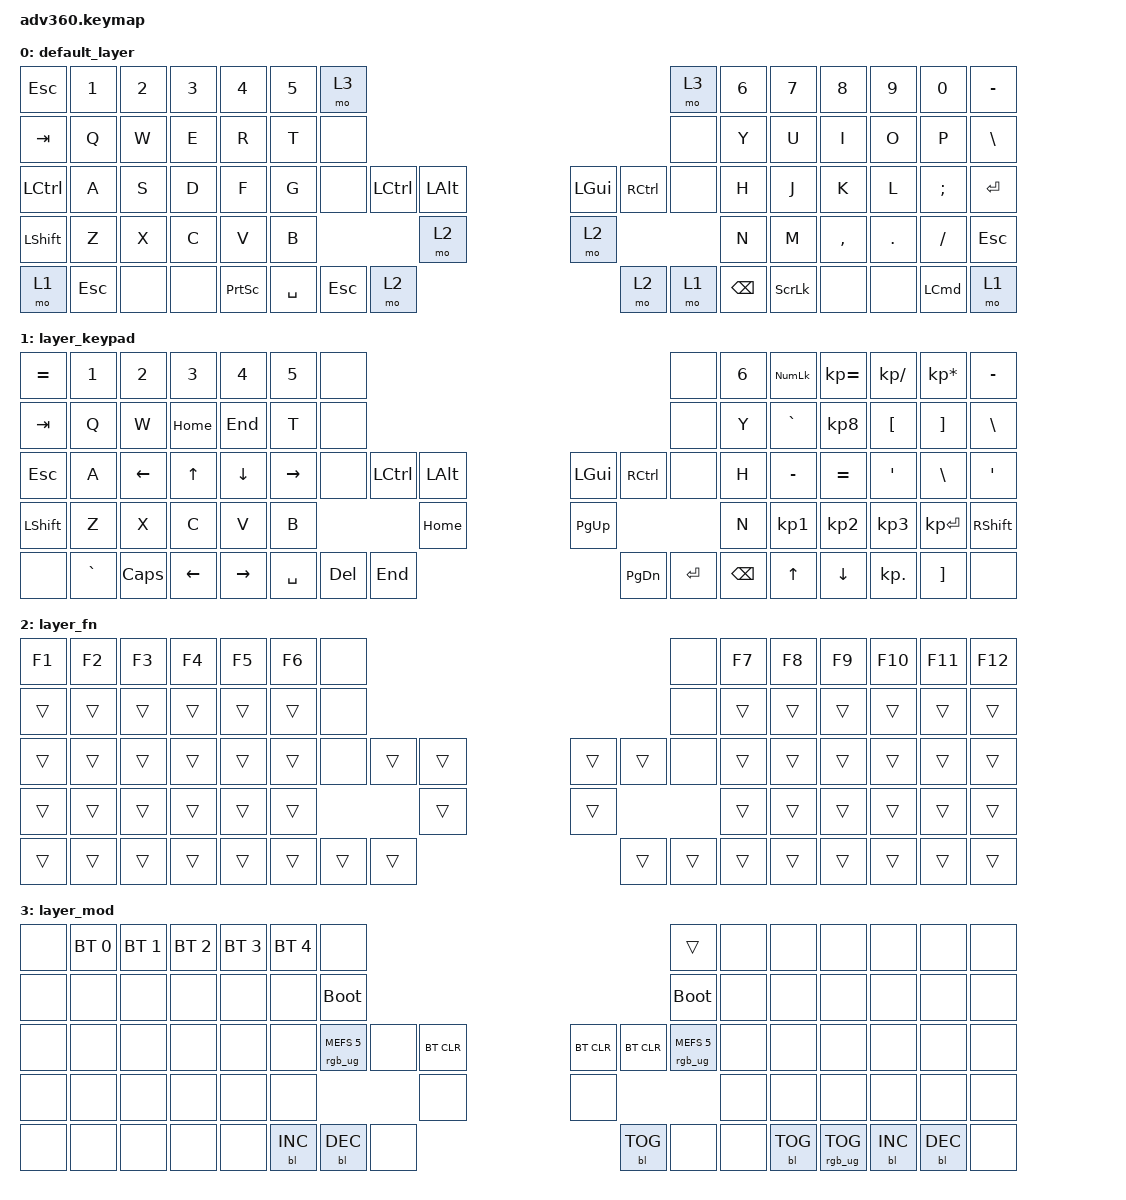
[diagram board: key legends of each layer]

/*
 * Copyright (c) 2020 The ZMK Contributors
 *
 * SPDX-License-Identifier: MIT
 */


/* THIS FILE WAS GENERATED!
 *
 * This file was generated automatically. You may or may not want to
 * edit it directly.
 */

#include <behaviors.dtsi>
#include <dt-bindings/zmk/keys.h>
#include <dt-bindings/zmk/bt.h>
#include <dt-bindings/zmk/rgb.h>
#include <dt-bindings/zmk/backlight.h>

/ {
  behaviors {
    #include "macros.dtsi"

    hm: homerow_mods {
        compatible = "zmk,behavior-hold-tap";
        label = "HOMEROW_MODS";
        #binding-cells = <2>;
        tapping-term-ms = <200>;
        quick_tap_ms = <175>;
        flavor = "tap-preferred";
        bindings = <&kp>, <&kp>;
    };
  };

    keymap {
        compatible = "zmk,keymap";


        default_layer {
            bindings = <
   &kp ESC      &kp N1  &kp N2  &kp N3           &kp N4  &kp N5                &mo 3                                                                    &mo 3  &kp N6          &kp N7     &kp N8   &kp N9            &kp N0  &kp MINUS
   &kp TAB       &kp Q   &kp W   &kp E            &kp R   &kp T                &none                                                                    &none   &kp Y           &kp U      &kp I    &kp O             &kp P   &kp BSLH
 &kp LCTRL       &kp A   &kp S   &kp D            &kp F   &kp G                &none  &kp LCTRL  &kp LALT                  &kp LGUI  &kp RCTRL          &none   &kp H           &kp J      &kp K    &kp L          &kp SEMI  &kp ENTER
 &kp LSHFT       &kp Z   &kp X   &kp C            &kp V   &kp B                                     &mo 2                     &mo 2                             &kp N           &kp M  &kp COMMA  &kp DOT          &kp FSLH    &kp ESC
     &mo 1  &kp ESCAPE   &none   &none  &kp PRINTSCREEN                    &kp SPACE    &kp ESC     &mo 2                     &mo 2      &mo 1  &kp BACKSPACE          &kp SCROLLLOCK      &none    &none  &kp LEFT_COMMAND      &mo 1
            >;
        };

        layer_keypad {
            bindings = <
 &kp EQUAL     &kp N1          &kp N2        &kp N3          &kp N4           &kp N5                &none                                                                     &none  &kp N6  &kp KP_NUM  &kp KP_EQUAL     &kp KP_DIVIDE    &kp KP_MULTIPLY  &kp MINUS
   &kp TAB      &kp Q           &kp W      &kp HOME         &kp END            &kp T                &none                                                                     &none   &kp Y   &kp GRAVE     &kp KP_N8  &kp LEFT_BRACKET  &kp RIGHT_BRACKET   &kp BSLH
   &kp ESC      &kp A  &kp LEFT_ARROW  &kp UP_ARROW  &kp DOWN_ARROW  &kp RIGHT_ARROW                &none  &kp LCTRL  &kp LALT                   &kp LGUI  &kp RCTRL          &none   &kp H   &kp MINUS     &kp EQUAL           &kp SQT      &kp BACKSLASH    &kp SQT
 &kp LSHFT      &kp Z           &kp X         &kp C           &kp V            &kp B                                  &kp HOME                  &kp PG_UP                             &kp N   &kp KP_N1     &kp KP_N2         &kp KP_N3       &kp KP_ENTER  &kp RSHFT
     &none  &kp GRAVE        &kp CAPS      &kp LEFT       &kp RIGHT                             &kp SPACE    &kp DEL   &kp END                  &kp PG_DN  &kp ENTER  &kp BACKSPACE              &kp UP      &kp DOWN        &kp KP_DOT           &kp RBKT      &none
            >;
        };

        layer_fn {
            bindings = <
 &kp F1  &kp F2  &kp F3  &kp F4  &kp F5  &kp F6             &none                                                   &none  &kp F7  &kp F8  &kp F9  &kp F10  &kp F11  &kp F12
 &trans  &trans  &trans  &trans  &trans  &trans             &none                                                   &none  &trans  &trans  &trans   &trans   &trans   &trans
 &trans  &trans  &trans  &trans  &trans  &trans             &none  &trans  &trans                  &trans  &trans   &none  &trans  &trans  &trans   &trans   &trans   &trans
 &trans  &trans  &trans  &trans  &trans  &trans                            &trans                  &trans                  &trans  &trans  &trans   &trans   &trans   &trans
 &trans  &trans  &trans  &trans  &trans                    &trans  &trans  &trans                  &trans  &trans  &trans          &trans  &trans   &trans   &trans   &trans
            >;
        };

        layer_mod {
            bindings = <
  &none  &bt BT_SEL 0  &bt BT_SEL 1  &bt BT_SEL 2  &bt BT_SEL 3  &bt BT_SEL 4                             &none                                                                                  &trans   &none       &none            &none       &none       &none   &none
  &none         &none         &none         &none         &none         &none                       &bootloader                                                                             &bootloader   &none       &none            &none       &none       &none   &none
  &none         &none         &none         &none         &none         &none            &rgb_ug RGB_MEFS_CMD 5       &none  &bt BT_CLR                  &bt BT_CLR  &bt BT_CLR  &rgb_ug RGB_MEFS_CMD 5   &none       &none            &none       &none       &none   &none
  &none         &none         &none         &none         &none         &none                                                     &none                       &none                                       &none       &none            &none       &none       &none   &none
  &none         &none         &none         &none         &none                                      &bl BL_INC  &bl BL_DEC       &none                  &bl BL_TOG       &none                   &none          &bl BL_TOG  &rgb_ug RGB_TOG  &bl BL_INC  &bl BL_DEC   &none
            >;
        };

    };
};
